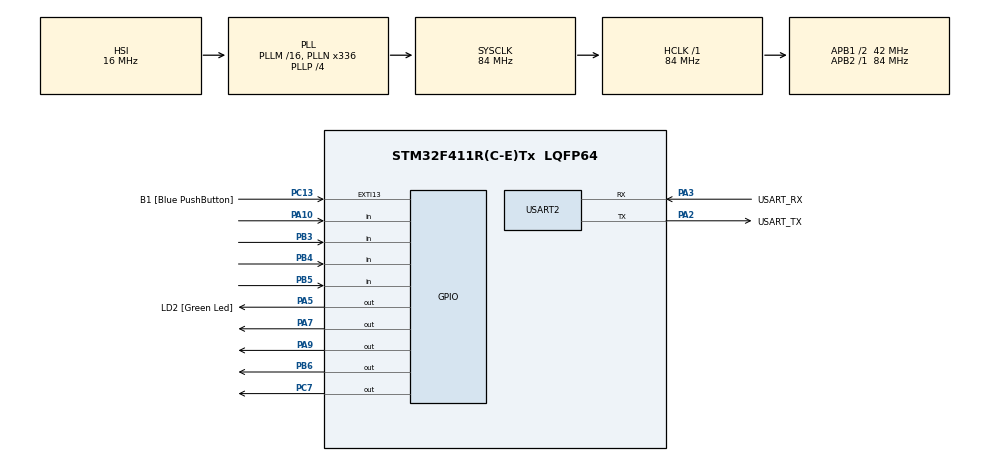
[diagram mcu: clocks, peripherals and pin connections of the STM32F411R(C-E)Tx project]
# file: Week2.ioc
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Mcu.Family=STM32F4
Mcu.Name=STM32F411R(C-E)Tx
Mcu.Package=LQFP64
NVIC.PriorityGroup=NVIC_PRIORITYGROUP_0
PA10.GPIO_PuPd=GPIO_PULLUP
PA10.Signal=GPIO_Input
PA13.GPIO_Label=TMS
PA13.Mode=Serial_Wire
PA13.Signal=SYS_JTMS-SWDIO
PA14.GPIO_Label=TCK
PA14.Mode=Serial_Wire
PA14.Signal=SYS_JTCK-SWCLK
PA2.GPIO_Label=USART_TX
PA2.Mode=Asynchronous
PA2.Signal=USART2_TX
PA3.GPIO_Label=USART_RX
PA3.Mode=Asynchronous
PA3.Signal=USART2_RX
PA5.GPIO_Label=LD2 [Green Led]
PA5.Signal=GPIO_Output
PA7.GPIO_ModeDefaultOutputPP=GPIO_MODE_OUTPUT_OD
PA7.PinState=GPIO_PIN_SET
PA7.Signal=GPIO_Output
PA9.GPIO_ModeDefaultOutputPP=GPIO_MODE_OUTPUT_OD
PA9.PinState=GPIO_PIN_SET
PA9.Signal=GPIO_Output
PB3.GPIO_PuPd=GPIO_PULLUP
PB3.Signal=GPIO_Input
PB4.GPIO_PuPd=GPIO_PULLUP
PB4.Signal=GPIO_Input
PB5.GPIO_PuPd=GPIO_PULLUP
PB5.Signal=GPIO_Input
PB6.GPIO_ModeDefaultOutputPP=GPIO_MODE_OUTPUT_OD
PB6.PinState=GPIO_PIN_SET
PB6.Signal=GPIO_Output
PC13-ANTI_TAMP.GPIO_Label=B1 [Blue PushButton]
PC13-ANTI_TAMP.GPIO_ModeDefaultEXTI=GPIO_MODE_IT_FALLING
PC13-ANTI_TAMP.Signal=GPXTI13
PC14-OSC32_IN.Mode=LSE-External-Oscillator
PC14-OSC32_IN.Signal=RCC_OSC32_IN
PC15-OSC32_OUT.Mode=LSE-External-Oscillator
PC15-OSC32_OUT.Signal=RCC_OSC32_OUT
PC7.GPIO_ModeDefaultOutputPP=GPIO_MODE_OUTPUT_OD
PC7.PinState=GPIO_PIN_SET
PC7.Signal=GPIO_Output
PH0\ -\ OSC_IN.Mode=HSE-External-Clock-Source
PH0\ -\ OSC_IN.Signal=RCC_OSC_IN
PH1\ -\ OSC_OUT.Mode=HSE-External-Clock-Source
PH1\ -\ OSC_OUT.Signal=RCC_OSC_OUT
ProjectManager.HeapSize=0x200
ProjectManager.StackSize=0x400
ProjectManager.TargetToolchain=STM32CubeIDE
RCC.48MHZClocksFreq_Value=84000000
RCC.AHBFreq_Value=84000000
RCC.APB1CLKDivider=RCC_HCLK_DIV2
RCC.APB1Freq_Value=42000000
RCC.APB1TimFreq_Value=84000000
RCC.APB2Freq_Value=84000000
RCC.APB2TimFreq_Value=84000000
RCC.CortexFreq_Value=84000000
RCC.FLatency-AdvancedSettings=FLASH_LATENCY_2
RCC.HCLKFreq_Value=84000000
RCC.HSE_VALUE=8000000
RCC.HSI_VALUE=16000000
RCC.PLLN=336
RCC.PLLP=RCC_PLLP_DIV4
RCC.SYSCLKFreq_VALUE=84000000
RCC.SYSCLKSource=RCC_SYSCLKSOURCE_PLLCLK
RCC.VCOOutputFreq_Value=336000000
USART2.VirtualMode=VM_ASYNC
board=NUCLEO-F411RE

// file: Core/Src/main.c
/* USER CODE BEGIN Header */
/**
  ******************************************************************************
  * @file           : main.c
  * @brief          : Main program body
  ******************************************************************************
  * @attention
  *
  * <h2><center>&copy; Copyright (c) 2021 STMicroelectronics.
  * All rights reserved.</center></h2>
  *
  * This software component is licensed by ST under BSD 3-Clause license,
  * the "License"; You may not use this file except in compliance with the
  * License. You may obtain a copy of the License at:
  *                        opensource.org/licenses/BSD-3-Clause
  *
  ******************************************************************************
  */
/* USER CODE END Header */
#include "main.h"

UART_HandleTypeDef huart2;

/* USER CODE BEGIN PV */
//save status of Button
uint16_t ButtonMatrixState = 0;

//Button time stamp
uint32_t ButtonMatrixTimestamp = 0;
/* USER CODE END PV */

void SystemClock_Config(void);
static void MX_GPIO_Init(void);
static void MX_USART2_UART_Init(void);
/* USER CODE BEGIN PFP */
//scan and update data of Button
void ButtonMatrixUpdate();
/* USER CODE END PFP */

int main(void)
{

  /* MCU Configuration--------------------------------------------------------*/

  /* Reset of all peripherals, Initializes the Flash interface and the Systick. */
  HAL_Init();

  /* Configure the system clock */
  SystemClock_Config();

  /* Initialize all configured peripherals */
  MX_GPIO_Init();
  MX_USART2_UART_Init();

  /* Infinite loop */
  while (1)
  {

    /* USER CODE BEGIN 3 */
	  ButtonMatrixUpdate();
  }
  /* USER CODE END 3 */
}

void SystemClock_Config(void)
{
  RCC_OscInitTypeDef RCC_OscInitStruct = {0};
  RCC_ClkInitTypeDef RCC_ClkInitStruct = {0};

  /** Configure the main internal regulator output voltage
  */
  __HAL_RCC_PWR_CLK_ENABLE();
  __HAL_PWR_VOLTAGESCALING_CONFIG(PWR_REGULATOR_VOLTAGE_SCALE1);
  /** Initializes the RCC Oscillators according to the specified parameters
  * in the RCC_OscInitTypeDef structure.
  */
  RCC_OscInitStruct.OscillatorType = RCC_OSCILLATORTYPE_HSI;
  RCC_OscInitStruct.HSIState = RCC_HSI_ON;
  RCC_OscInitStruct.HSICalibrationValue = RCC_HSICALIBRATION_DEFAULT;
  RCC_OscInitStruct.PLL.PLLState = RCC_PLL_ON;
  RCC_OscInitStruct.PLL.PLLSource = RCC_PLLSOURCE_HSI;
  RCC_OscInitStruct.PLL.PLLM = 16;
  RCC_OscInitStruct.PLL.PLLN = 336;
  RCC_OscInitStruct.PLL.PLLP = RCC_PLLP_DIV4;
  RCC_OscInitStruct.PLL.PLLQ = 4;
  if (HAL_RCC_OscConfig(&RCC_OscInitStruct) != HAL_OK)
  {
    Error_Handler();
  }
  /** Initializes the CPU, AHB and APB buses clocks
  */
  RCC_ClkInitStruct.ClockType = RCC_CLOCKTYPE_HCLK|RCC_CLOCKTYPE_SYSCLK
                              |RCC_CLOCKTYPE_PCLK1|RCC_CLOCKTYPE_PCLK2;
  RCC_ClkInitStruct.SYSCLKSource = RCC_SYSCLKSOURCE_PLLCLK;
  RCC_ClkInitStruct.AHBCLKDivider = RCC_SYSCLK_DIV1;
  RCC_ClkInitStruct.APB1CLKDivider = RCC_HCLK_DIV2;
  RCC_ClkInitStruct.APB2CLKDivider = RCC_HCLK_DIV1;

  if (HAL_RCC_ClockConfig(&RCC_ClkInitStruct, FLASH_LATENCY_2) != HAL_OK)
  {
    Error_Handler();
  }
}

static void MX_USART2_UART_Init(void)
{

  huart2.Instance = USART2;
  huart2.Init.BaudRate = 115200;
  huart2.Init.WordLength = UART_WORDLENGTH_8B;
  huart2.Init.StopBits = UART_STOPBITS_1;
  huart2.Init.Parity = UART_PARITY_NONE;
  huart2.Init.Mode = UART_MODE_TX_RX;
  huart2.Init.HwFlowCtl = UART_HWCONTROL_NONE;
  huart2.Init.OverSampling = UART_OVERSAMPLING_16;
  if (HAL_UART_Init(&huart2) != HAL_OK)
  {
    Error_Handler();
  }

}

static void MX_GPIO_Init(void)
{
  GPIO_InitTypeDef GPIO_InitStruct = {0};

  /* GPIO Ports Clock Enable */
  __HAL_RCC_GPIOC_CLK_ENABLE();
  __HAL_RCC_GPIOH_CLK_ENABLE();
  __HAL_RCC_GPIOA_CLK_ENABLE();
  __HAL_RCC_GPIOB_CLK_ENABLE();

  /*Configure GPIO pin Output Level */
  HAL_GPIO_WritePin(LD2_GPIO_Port, LD2_Pin, GPIO_PIN_RESET);

  /*Configure GPIO pin Output Level */
  HAL_GPIO_WritePin(GPIOA, GPIO_PIN_7|GPIO_PIN_9, GPIO_PIN_SET);

  /*Configure GPIO pin Output Level */
  HAL_GPIO_WritePin(GPIOC, GPIO_PIN_7, GPIO_PIN_SET);

  /*Configure GPIO pin Output Level */
  HAL_GPIO_WritePin(GPIOB, GPIO_PIN_6, GPIO_PIN_SET);

  /*Configure GPIO pin : B1_Pin */
  GPIO_InitStruct.Pin = B1_Pin;
  GPIO_InitStruct.Mode = GPIO_MODE_IT_FALLING;
  GPIO_InitStruct.Pull = GPIO_NOPULL;
  HAL_GPIO_Init(B1_GPIO_Port, &GPIO_InitStruct);

  /*Configure GPIO pin : LD2_Pin */
  GPIO_InitStruct.Pin = LD2_Pin;
  GPIO_InitStruct.Mode = GPIO_MODE_OUTPUT_PP;
  GPIO_InitStruct.Pull = GPIO_NOPULL;
  GPIO_InitStruct.Speed = GPIO_SPEED_FREQ_LOW;
  HAL_GPIO_Init(LD2_GPIO_Port, &GPIO_InitStruct);

  /*Configure GPIO pins : PA7 PA9 */
  GPIO_InitStruct.Pin = GPIO_PIN_7|GPIO_PIN_9;
  GPIO_InitStruct.Mode = GPIO_MODE_OUTPUT_OD;
  GPIO_InitStruct.Pull = GPIO_NOPULL;
  GPIO_InitStruct.Speed = GPIO_SPEED_FREQ_LOW;
  HAL_GPIO_Init(GPIOA, &GPIO_InitStruct);

  /*Configure GPIO pin : PC7 */
  GPIO_InitStruct.Pin = GPIO_PIN_7;
  GPIO_InitStruct.Mode = GPIO_MODE_OUTPUT_OD;
  GPIO_InitStruct.Pull = GPIO_NOPULL;
  GPIO_InitStruct.Speed = GPIO_SPEED_FREQ_LOW;
  HAL_GPIO_Init(GPIOC, &GPIO_InitStruct);

  /*Configure GPIO pin : PA10 */
  GPIO_InitStruct.Pin = GPIO_PIN_10;
  GPIO_InitStruct.Mode = GPIO_MODE_INPUT;
  GPIO_InitStruct.Pull = GPIO_PULLUP;
  HAL_GPIO_Init(GPIOA, &GPIO_InitStruct);

  /*Configure GPIO pins : PB3 PB4 PB5 */
  GPIO_InitStruct.Pin = GPIO_PIN_3|GPIO_PIN_4|GPIO_PIN_5;
  GPIO_InitStruct.Mode = GPIO_MODE_INPUT;
  GPIO_InitStruct.Pull = GPIO_PULLUP;
  HAL_GPIO_Init(GPIOB, &GPIO_InitStruct);

  /*Configure GPIO pin : PB6 */
  GPIO_InitStruct.Pin = GPIO_PIN_6;
  GPIO_InitStruct.Mode = GPIO_MODE_OUTPUT_OD;
  GPIO_InitStruct.Pull = GPIO_NOPULL;
  GPIO_InitStruct.Speed = GPIO_SPEED_FREQ_LOW;
  HAL_GPIO_Init(GPIOB, &GPIO_InitStruct);

}

/* USER CODE BEGIN 4 */
//Port/Pin array, 0-3 input, 4-7 output
GPIO_TypeDef *ButtonMatrixPort[8] = {GPIOA,GPIOB,GPIOB,GPIOB,GPIOA,GPIOC,GPIOB,GPIOA};
uint16_t ButtonMatrixPin[8] = {GPIO_PIN_10,GPIO_PIN_3,GPIO_PIN_5,GPIO_PIN_4,GPIO_PIN_9,GPIO_PIN_7,GPIO_PIN_6,GPIO_PIN_7};
uint8_t ButtonMatrixRow = 0; // What R Row
void ButtonMatrixUpdate()
{
	if(HAL_GetTick() - ButtonMatrixTimestamp >= 100)
	{
		ButtonMatrixTimestamp = HAL_GetTick();
		int i;
		for(i = 0; i<4; ++i)
		{
			GPIO_PinState Pinstate = HAL_GPIO_ReadPin(ButtonMatrixPort[i], ButtonMatrixPin[i]);
			if(Pinstate == GPIO_PIN_RESET) // Button Press
			{
				ButtonMatrixState |= (uint16_t)0x1 << (i + ButtonMatrixRow*4);
			}
			else
			{
				ButtonMatrixState &= ~((uint16_t)0x1 << (i + ButtonMatrixRow*4));
			}
		}
		uint8_t NowOutputPin = ButtonMatrixRow + 4;

		// SET PIN
		HAL_GPIO_WritePin(ButtonMatrixPort[NowOutputPin], ButtonMatrixPin[NowOutputPin],GPIO_PIN_SET);

		// update New Row
		ButtonMatrixRow = (ButtonMatrixRow + 1) % 4;
		// Reset PIN+1
		uint8_t NextOutputPin = ButtonMatrixRow + 4 ;

		HAL_GPIO_WritePin(ButtonMatrixPort[NextOutputPin], ButtonMatrixPin[NextOutputPin],GPIO_PIN_RESET);
	}
}
/* USER CODE END 4 */

void Error_Handler(void)
{
  __disable_irq();
  while (1)
  {
  }
}

/************************ (C) COPYRIGHT STMicroelectronics *****END OF FILE****/
